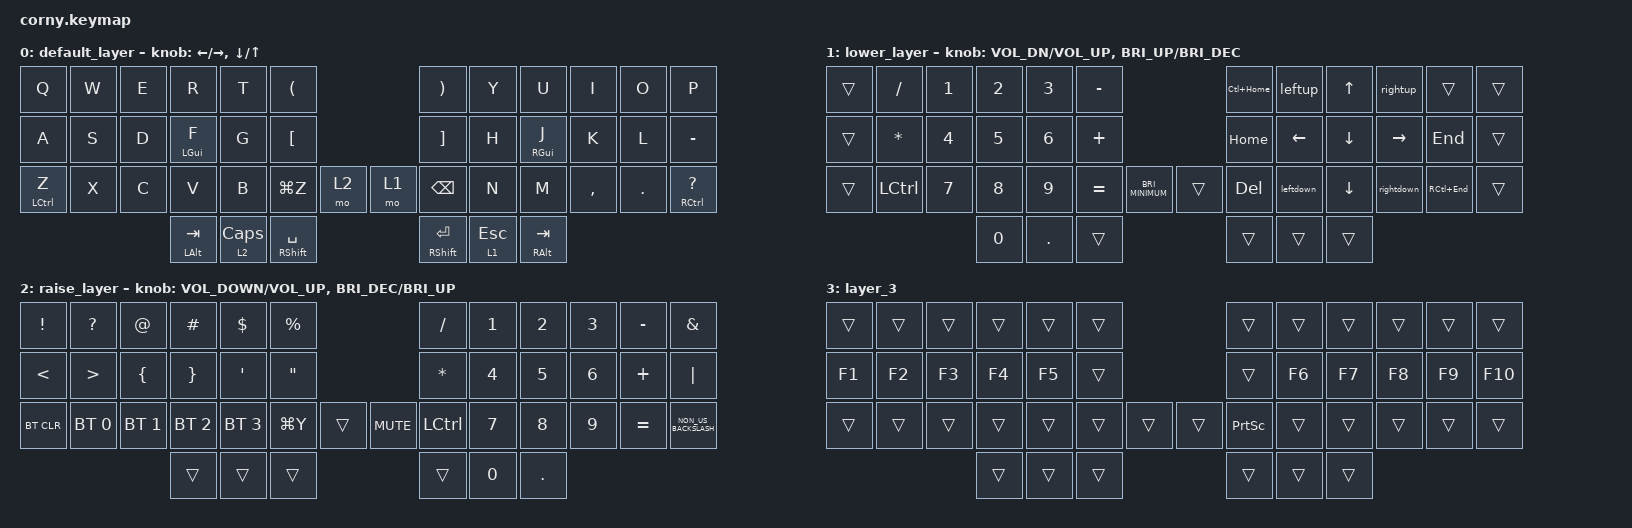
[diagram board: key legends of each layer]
#include <behaviors.dtsi>
#include <dt-bindings/zmk/bt.h>
#include <dt-bindings/zmk/keys.h>

&mt { flavor = "tap-preferred"; };

/ {
    combos {
        compatible = "zmk,combos";

        eisuu {
            bindings = <&kp LANGUAGE_2>;
            key-positions = <15 14>;
        };

        pa {
            bindings = <&pa>;
            key-positions = <21 14>;
        };

        login {
            bindings = <&login>;
            key-positions = <23 22>;
        };

        kana {
            bindings = <&kp LANGUAGE_1>;
            key-positions = <20 21>;
        };

        mail {
            bindings = <&mail>;
            key-positions = <23 12>;
        };

        to-tenkey {
            bindings = <&mo 3>;
            key-positions = <39 42>;
        };
    };

    macros {
        pa: pa {
            compatible = "zmk,behavior-macro";
            #binding-cells = <0>;
            bindings = <&kp LS(O) &kp R &kp T &kp L &kp I &kp N &kp D &kp E &kp NUMBER_1>;
            label = "PA";
        };

        login: login {
            compatible = "zmk,behavior-macro";
            #binding-cells = <0>;
            bindings = <&kp NUMBER_2 &kp NUMBER_4 &kp NUMBER_8 &kp NUMBER_6 &kp N5 &kp NUMBER_2>;
            label = "LOGIN";
        };

        mail: new_macro {
            compatible = "zmk,behavior-macro";
            #binding-cells = <0>;
            bindings = <&kp H &kp I &kp K &kp A &kp R &kp U &kp DOT &kp H &kp A &kp R &kp I &kp AT &kp G &kp M &kp A &kp I &kp L &kp DOT &kp C &kp O &kp M>;
            label = "NEW_MACRO";
        };

        leftup: leftup {
            compatible = "zmk,behavior-macro";
            #binding-cells = <0>;
            bindings = <&kp LEFT_ARROW &kp UP_ARROW>;
            label = "LEFTUP";
        };

        rightup: rightup {
            compatible = "zmk,behavior-macro";
            #binding-cells = <0>;
            bindings = <&kp RIGHT &kp UP_ARROW>;
            label = "RIGHTUP";
        };

        leftdown: leftdown {
            compatible = "zmk,behavior-macro";
            #binding-cells = <0>;
            bindings = <&kp RIGHT &kp DOWN_ARROW>;
            label = "LEFTDOWN";
        };

        rightdown: rightdown {
            compatible = "zmk,behavior-macro";
            #binding-cells = <0>;
            bindings = <&kp LEFT_ARROW &kp DOWN_ARROW>;
            label = "RIGHTDOWN";
        };
    };

    keymap {
        compatible = "zmk,keymap";

        default_layer {
            // -------------------------------------------------------------------------------------------------
            // |  TAB |  Q  |  W  |  E  |  R  |  T  |                    |  Y  |  U   |  I  |  O  |  P  | BKSP |
            // | CTRL |  A  |  S  |  D  |  F  |  G  |                    |  H  |  J   |  K  |  L  |  ;  |  '   |
            // | SHFT |  Z  |  X  |  C  |  V  |  B  |  MUTE  |  |        |  N  |  M   |  ,  |  .  |  /  | ESC  |
            //                    | GUI | LWR | SPC |                    | ENT | RSE  | ALT |

            bindings = <
&kp Q        &kp W  &kp E  &kp R             &kp T       &kp LEFT_PARENTHESIS                &kp RIGHT_PARENTHESIS  &kp Y         &kp U              &kp I      &kp O    &kp P
&kp A        &kp S  &kp D  &mt LEFT_GUI F    &kp G       &kp LEFT_BRACKET                    &kp RIGHT_BRACKET      &kp H         &mt RIGHT_GUI J    &kp K      &kp L    &kp MINUS
&mt LCTRL Z  &kp X  &kp C  &kp V             &kp B       &kp LG(Z)             &mo 2  &mo 1  &kp BACKSPACE          &kp N         &kp M              &kp COMMA  &kp DOT  &mt RCTRL QUESTION
                           &mt LEFT_ALT TAB  &lt 2 CAPS  &mt RSHIFT SPACE                    &mt RIGHT_SHIFT ENTER  &lt 1 ESCAPE  &mt RIGHT_ALT TAB
            >;

            sensor-bindings =
                <&inc_dec_kp LEFT_ARROW RIGHT_ARROW>,
                <&inc_dec_kp DOWN_ARROW UP_ARROW>;
        };

        lower_layer {
            // ------------------------------------------------------------------------------------------------
            // |  TAB |  1  |  2  |  3  |  4  |  5  |                    |  6  |  7  |  8  |  9  |  0  | BKSP |
            // | BTCLR| BT1 | BT2 | BT3 | BT4 | BT5 |                    | LFT | DWN |  UP | RGT |     |  F12 |
            // | SHFT | F1  | F2  | F3  | F4  | F5  |  boot  |  |        |  F6 | F7  | F8  | F9  | F10 |  F11 |
            //                    | GUI |     | SPC |                    | ENT |     | ALT |

            bindings = <
&trans  &kp SLASH     &kp NUMBER_1  &kp NUMBER_2  &kp NUMBER_3  &kp MINUS                                    &kp LC(HOME)  &leftup    &kp UP_ARROW    &rightup    &trans       &trans
&trans  &kp ASTERISK  &kp NUMBER_4  &kp N5        &kp NUMBER_6  &kp PLUS                                     &kp HOME      &kp LEFT   &kp DOWN        &kp RIGHT   &kp END      &trans
&trans  &kp LCTRL     &kp N7        &kp N8        &kp N9        &kp EQUAL  &kp C_BRIGHTNESS_MINIMUM  &trans  &kp DEL       &leftdown  &kp DOWN_ARROW  &rightdown  &kp RC(END)  &trans
                                    &kp N0        &kp PERIOD    &trans                                       &trans        &trans     &trans
            >;

            sensor-bindings =
                <&inc_dec_kp C_VOL_DN C_VOL_UP>,
                <&inc_dec_kp C_BRI_UP C_BRI_DEC>;
        };

        raise_layer {
            // ------------------------------------------------------------------------------------------------
            // |  TAB |  !  |  @  |  #  |  $  |  %  |                    |  ^  |  &  |  *  |  (  |  )  | BKSP |
            // | CTRL |     |     |     |     |     |                    |  -  |  =  |  [  |  ]  |  \  |  `   |
            // | SHFT |     |     |     |     |     |        |  |  boot  |  _  |  +  |  {  |  }  | "|" |  ~   |
            //                    | GUI |     | SPC |                    | ENT |     | ALT |

            bindings = <
&kp EXCLAMATION  &kp QUESTION      &kp AT          &kp HASH         &kp DLLR      &kp PRCNT                              &kp SLASH     &kp NUMBER_1  &kp NUMBER_2  &kp NUMBER_3  &kp MINUS  &kp AMPERSAND
&kp LESS_THAN    &kp GREATER_THAN  &kp LEFT_BRACE  &kp RIGHT_BRACE  &kp SQT       &kp DOUBLE_QUOTES                      &kp ASTERISK  &kp NUMBER_4  &kp N5        &kp NUMBER_6  &kp PLUS   &kp PIPE
&bt BT_CLR       &bt BT_SEL 0      &bt BT_SEL 1    &bt BT_SEL 2     &bt BT_SEL 3  &kp LG(Y)          &trans  &kp K_MUTE  &kp LCTRL     &kp N7        &kp N8        &kp N9        &kp EQUAL  &kp NON_US_BACKSLASH
                                                   &trans           &trans        &trans                                 &trans        &kp N0        &kp PERIOD
            >;

            sensor-bindings =
                <&inc_dec_kp C_VOLUME_DOWN C_VOLUME_UP>,
                <&inc_dec_kp C_BRI_DEC C_BRI_UP>;
        };

        layer_3 {
            bindings = <
&trans  &trans  &trans  &trans  &trans  &trans                  &trans           &trans  &trans  &trans  &trans  &trans
&kp F1  &kp F2  &kp F3  &kp F4  &kp F5  &trans                  &trans           &kp F6  &kp F7  &kp F8  &kp F9  &kp F10
&trans  &trans  &trans  &trans  &trans  &trans  &trans  &trans  &kp PRINTSCREEN  &trans  &trans  &trans  &trans  &trans
                        &trans  &trans  &trans                  &trans           &trans  &trans
            >;
        };
    };
};
